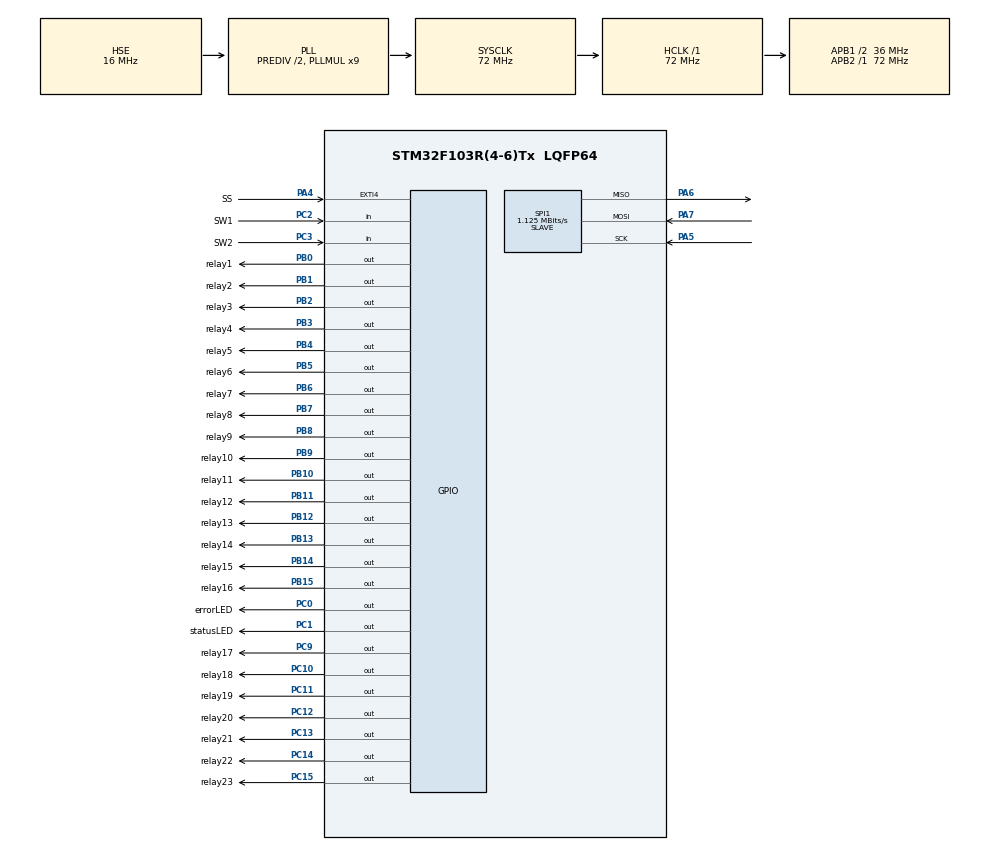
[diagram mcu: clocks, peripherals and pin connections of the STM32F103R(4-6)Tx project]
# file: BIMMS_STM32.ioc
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Mcu.Family=STM32F1
Mcu.Name=STM32F103R(4-6)Tx
Mcu.Package=LQFP64
NVIC.EXTI4_IRQn=true\:10\:0\:true\:false\:true\:true\:true
NVIC.PriorityGroup=NVIC_PRIORITYGROUP_4
NVIC.TIM2_IRQn=true\:0\:0\:false\:false\:true\:true\:true
PA13.Mode=Serial_Wire
PA13.Signal=SYS_JTMS-SWDIO
PA14.Mode=Serial_Wire
PA14.Signal=SYS_JTCK-SWCLK
PA4.GPIO_Label=SS
PA4.GPIO_ModeDefaultEXTI=GPIO_MODE_IT_FALLING
PA4.GPIO_PuPd=GPIO_PULLUP
PA4.Signal=GPXTI4
PA5.Mode=Full_Duplex_Slave
PA5.Signal=SPI1_SCK
PA6.Mode=Full_Duplex_Slave
PA6.Signal=SPI1_MISO
PA7.Mode=Full_Duplex_Slave
PA7.Signal=SPI1_MOSI
PB0.GPIO_Label=relay1
PB0.Signal=GPIO_Output
PB1.GPIO_Label=relay2
PB1.Signal=GPIO_Output
PB10.GPIO_Label=relay11
PB10.Signal=GPIO_Output
PB11.GPIO_Label=relay12
PB11.Signal=GPIO_Output
PB12.GPIO_Label=relay13
PB12.Signal=GPIO_Output
PB13.GPIO_Label=relay14
PB13.Signal=GPIO_Output
PB14.GPIO_Label=relay15
PB14.Signal=GPIO_Output
PB15.GPIO_Label=relay16
PB15.Signal=GPIO_Output
PB2.GPIO_Label=relay3
PB2.Signal=GPIO_Output
PB3.GPIO_Label=relay4
PB3.Signal=GPIO_Output
PB4.GPIO_Label=relay5
PB4.Signal=GPIO_Output
PB5.GPIO_Label=relay6
PB5.Signal=GPIO_Output
PB6.GPIO_Label=relay7
PB6.Signal=GPIO_Output
PB7.GPIO_Label=relay8
PB7.Signal=GPIO_Output
PB8.GPIO_Label=relay9
PB8.Signal=GPIO_Output
PB9.GPIO_Label=relay10
PB9.Signal=GPIO_Output
PC0.GPIO_Label=errorLED
PC0.Signal=GPIO_Output
PC1.GPIO_Label=statusLED
PC1.Signal=GPIO_Output
PC10.GPIO_Label=relay18
PC10.Signal=GPIO_Output
PC11.GPIO_Label=relay19
PC11.Signal=GPIO_Output
PC12.GPIO_Label=relay20
PC12.Signal=GPIO_Output
PC13-TAMPER-RTC.GPIO_Label=relay21
PC13-TAMPER-RTC.Signal=GPIO_Output
PC14-OSC32_IN.GPIO_Label=relay22
PC14-OSC32_IN.Signal=GPIO_Output
PC15-OSC32_OUT.GPIO_Label=relay23
PC15-OSC32_OUT.Signal=GPIO_Output
PC2.GPIO_Label=SW1
PC2.Signal=GPIO_Input
PC3.GPIO_Label=SW2
PC3.Signal=GPIO_Input
PC9.GPIO_Label=relay17
PC9.Signal=GPIO_Output
PD0-OSC_IN.Mode=HSE-External-Oscillator
PD0-OSC_IN.Signal=RCC_OSC_IN
PD1-OSC_OUT.Mode=HSE-External-Oscillator
PD1-OSC_OUT.Signal=RCC_OSC_OUT
ProjectManager.HeapSize=0x200
ProjectManager.StackSize=0x400
ProjectManager.TargetToolchain=STM32CubeIDE
RCC.AHBFreq_Value=72000000
RCC.APB1CLKDivider=RCC_HCLK_DIV2
RCC.APB1Freq_Value=36000000
RCC.APB1TimFreq_Value=72000000
RCC.APB2Freq_Value=72000000
RCC.APB2TimFreq_Value=72000000
RCC.HCLKFreq_Value=72000000
RCC.HSEDivPLL=RCC_HSE_PREDIV_DIV2
RCC.HSE_VALUE=16000000
RCC.PLLMUL=RCC_PLL_MUL9
RCC.PLLSourceVirtual=RCC_PLLSOURCE_HSE
RCC.SYSCLKFreq_VALUE=72000000
RCC.SYSCLKSource=RCC_SYSCLKSOURCE_PLLCLK
RCC.USBFreq_Value=72000000
SPI1.BaudRatePrescaler=SPI_BAUDRATEPRESCALER_64
SPI1.CLKPhase=SPI_PHASE_2EDGE
SPI1.CLKPolarity=SPI_POLARITY_HIGH
SPI1.CalculateBaudRate=1.125 MBits/s
SPI1.Direction=SPI_DIRECTION_2LINES
SPI1.Mode=SPI_MODE_SLAVE
SPI1.VirtualType=VM_SLAVE
TIM2.AutoReloadPreload=TIM_AUTORELOAD_PRELOAD_ENABLE
TIM2.Period=7200
TIM2.Prescaler=100
VP_TIM2_VS_ClockSourceINT.Mode=Internal
board=custom

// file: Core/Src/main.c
/* USER CODE BEGIN Header */
/**
  ******************************************************************************
  * @file           : main.c
  * @brief          : Main program body
  ******************************************************************************
  * @attention
  *
  * <h2><center>&copy; Copyright (c) 2021 STMicroelectronics.
  * All rights reserved.</center></h2>
  *
  * This software component is licensed by ST under BSD 3-Clause license,
  * the "License"; You may not use this file except in compliance with the
  * License. You may obtain a copy of the License at:
  *                        opensource.org/licenses/BSD-3-Clause
  *
  ******************************************************************************
  */
/* USER CODE END Header */
#include "main.h"

SPI_HandleTypeDef hspi1;

TIM_HandleTypeDef htim2;

/* USER CODE BEGIN PV */
long int data_from_AD2;
long int data_to_AD2;
uint8_t rxBuff[4];
uint8_t txBuff[4];
short unsigned int state,new_32bitsSPI;
long int relay_state ;

int cnt_fast;
int cnt_slow;
uint8_t tick_slow;
uint8_t tick_fast;
int div_cnt_fast;
int div_cnt_slow;

/* USER CODE END PV */

void SystemClock_Config(void);
static void MX_GPIO_Init(void);
static void MX_SPI1_Init(void);
static void MX_TIM2_Init(void);
/* USER CODE BEGIN PFP */

void decode_data(long int data_from_AD2);
void update_state(long int data);
void send_register(long int add);

void updateRelay(long int RelayValue);

void toggleStatusLED();
void toggleErrorLED();

void InitOffState();
void InitIdleState();
void InitLockedState();
void InitErrorState();

void TX32bitsSPI();
void Data2buff(long int data);

/* USER CODE END PFP */

int main(void)
{

  /* MCU Configuration--------------------------------------------------------*/

  /* Reset of all peripherals, Initializes the Flash interface and the Systick. */
  HAL_Init();

  /* Configure the system clock */
  SystemClock_Config();

  /* Initialize all configured peripherals */
  MX_GPIO_Init();
  MX_SPI1_Init();
  MX_TIM2_Init();
  /* USER CODE BEGIN 2 */

  //Init Global Variables
  for (short unsigned int i = 0; i<4; i++)
      {
         rxBuff[i]=0;
         txBuff[i]=0;
      }

  data_from_AD2 = 0;
  new_32bitsSPI = 0;

   cnt_fast = 0;
   cnt_slow = 0;
   tick_slow = 0;
   tick_fast = 0;
   div_cnt_fast = 10;
   div_cnt_slow = 80;

   HAL_GPIO_WritePin(statusLED_GPIO_Port, statusLED_Pin,0);
   HAL_GPIO_WritePin(errorLED_GPIO_Port, errorLED_Pin,0);

  updateRelay(Relay_Default);

  //Init state
  state = off_state ;
  InitOffState();

  HAL_TIM_Base_Start_IT(&htim2);

  /* USER CODE END 2 */

  /* Infinite loop */
  /* USER CODE BEGIN WHILE */
  while (1)
  {

      if (new_32bitsSPI)
      {
          decode_data(data_from_AD2);
          new_32bitsSPI = 0;
      }
      switch (state)
      {
          case off_state:
        	  if (tick_slow)
        	  {
        		  tick_slow = 0;
        		  HAL_GPIO_TogglePin(statusLED_GPIO_Port, statusLED_Pin);
        	  }
        	  // Do Something
              break;
          case idle_state:
              // Do Something
              break;
          case locked_state:
        	  if (tick_fast)
        	  {
        		  tick_fast = 0;
        		  HAL_GPIO_TogglePin(statusLED_GPIO_Port, statusLED_Pin);
        	  }
              // Do Something
              break;
          case error_state:
        	  if (tick_fast)
        	  {
        		  tick_fast = 0;
        		  HAL_GPIO_TogglePin(errorLED_GPIO_Port, errorLED_Pin);
        	  }
              // Do Something
              break;
      }

    /* USER CODE END WHILE */

  }
}

void SystemClock_Config(void)
{
  RCC_OscInitTypeDef RCC_OscInitStruct = {0};
  RCC_ClkInitTypeDef RCC_ClkInitStruct = {0};

  /** Initializes the RCC Oscillators according to the specified parameters
  * in the RCC_OscInitTypeDef structure.
  */
  RCC_OscInitStruct.OscillatorType = RCC_OSCILLATORTYPE_HSE;
  RCC_OscInitStruct.HSEState = RCC_HSE_ON;
  RCC_OscInitStruct.HSEPredivValue = RCC_HSE_PREDIV_DIV2;
  RCC_OscInitStruct.HSIState = RCC_HSI_ON;
  RCC_OscInitStruct.PLL.PLLState = RCC_PLL_ON;
  RCC_OscInitStruct.PLL.PLLSource = RCC_PLLSOURCE_HSE;
  RCC_OscInitStruct.PLL.PLLMUL = RCC_PLL_MUL9;
  if (HAL_RCC_OscConfig(&RCC_OscInitStruct) != HAL_OK)
  {
    Error_Handler();
  }
  /** Initializes the CPU, AHB and APB buses clocks
  */
  RCC_ClkInitStruct.ClockType = RCC_CLOCKTYPE_HCLK|RCC_CLOCKTYPE_SYSCLK
                              |RCC_CLOCKTYPE_PCLK1|RCC_CLOCKTYPE_PCLK2;
  RCC_ClkInitStruct.SYSCLKSource = RCC_SYSCLKSOURCE_PLLCLK;
  RCC_ClkInitStruct.AHBCLKDivider = RCC_SYSCLK_DIV1;
  RCC_ClkInitStruct.APB1CLKDivider = RCC_HCLK_DIV2;
  RCC_ClkInitStruct.APB2CLKDivider = RCC_HCLK_DIV1;

  if (HAL_RCC_ClockConfig(&RCC_ClkInitStruct, FLASH_LATENCY_2) != HAL_OK)
  {
    Error_Handler();
  }
}

static void MX_SPI1_Init(void)
{

  /* SPI1 parameter configuration*/
  hspi1.Instance = SPI1;
  hspi1.Init.Mode = SPI_MODE_SLAVE;
  hspi1.Init.Direction = SPI_DIRECTION_2LINES;
  hspi1.Init.DataSize = SPI_DATASIZE_8BIT;
  hspi1.Init.CLKPolarity = SPI_POLARITY_HIGH;
  hspi1.Init.CLKPhase = SPI_PHASE_2EDGE;
  hspi1.Init.NSS = SPI_NSS_SOFT;
  hspi1.Init.BaudRatePrescaler = SPI_BAUDRATEPRESCALER_64;
  hspi1.Init.FirstBit = SPI_FIRSTBIT_MSB;
  hspi1.Init.TIMode = SPI_TIMODE_DISABLE;
  hspi1.Init.CRCCalculation = SPI_CRCCALCULATION_DISABLE;
  hspi1.Init.CRCPolynomial = 10;
  if (HAL_SPI_Init(&hspi1) != HAL_OK)
  {
    Error_Handler();
  }

}

static void MX_TIM2_Init(void)
{

  TIM_ClockConfigTypeDef sClockSourceConfig = {0};
  TIM_MasterConfigTypeDef sMasterConfig = {0};

  htim2.Instance = TIM2;
  htim2.Init.Prescaler = 100;
  htim2.Init.CounterMode = TIM_COUNTERMODE_UP;
  htim2.Init.Period = 7200;
  htim2.Init.ClockDivision = TIM_CLOCKDIVISION_DIV1;
  htim2.Init.AutoReloadPreload = TIM_AUTORELOAD_PRELOAD_ENABLE;
  if (HAL_TIM_Base_Init(&htim2) != HAL_OK)
  {
    Error_Handler();
  }
  sClockSourceConfig.ClockSource = TIM_CLOCKSOURCE_INTERNAL;
  if (HAL_TIM_ConfigClockSource(&htim2, &sClockSourceConfig) != HAL_OK)
  {
    Error_Handler();
  }
  sMasterConfig.MasterOutputTrigger = TIM_TRGO_RESET;
  sMasterConfig.MasterSlaveMode = TIM_MASTERSLAVEMODE_DISABLE;
  if (HAL_TIMEx_MasterConfigSynchronization(&htim2, &sMasterConfig) != HAL_OK)
  {
    Error_Handler();
  }

}

static void MX_GPIO_Init(void)
{
  GPIO_InitTypeDef GPIO_InitStruct = {0};

  /* GPIO Ports Clock Enable */
  __HAL_RCC_GPIOC_CLK_ENABLE();
  __HAL_RCC_GPIOD_CLK_ENABLE();
  __HAL_RCC_GPIOA_CLK_ENABLE();
  __HAL_RCC_GPIOB_CLK_ENABLE();

  /*Configure GPIO pin Output Level */
  HAL_GPIO_WritePin(GPIOC, relay21_Pin|relay22_Pin|relay23_Pin|errorLED_Pin
                          |statusLED_Pin|relay17_Pin|relay18_Pin|relay19_Pin
                          |relay20_Pin, GPIO_PIN_RESET);

  /*Configure GPIO pin Output Level */
  HAL_GPIO_WritePin(GPIOB, relay1_Pin|relay2_Pin|relay3_Pin|relay11_Pin
                          |relay12_Pin|relay13_Pin|relay14_Pin|relay15_Pin
                          |relay16_Pin|relay4_Pin|relay5_Pin|relay6_Pin
                          |relay7_Pin|relay8_Pin|relay9_Pin|relay10_Pin, GPIO_PIN_RESET);

  /*Configure GPIO pins : relay21_Pin relay22_Pin relay23_Pin errorLED_Pin
                           statusLED_Pin relay17_Pin relay18_Pin relay19_Pin
                           relay20_Pin */
  GPIO_InitStruct.Pin = relay21_Pin|relay22_Pin|relay23_Pin|errorLED_Pin
                          |statusLED_Pin|relay17_Pin|relay18_Pin|relay19_Pin
                          |relay20_Pin;
  GPIO_InitStruct.Mode = GPIO_MODE_OUTPUT_PP;
  GPIO_InitStruct.Pull = GPIO_NOPULL;
  GPIO_InitStruct.Speed = GPIO_SPEED_FREQ_LOW;
  HAL_GPIO_Init(GPIOC, &GPIO_InitStruct);

  /*Configure GPIO pins : SW1_Pin SW2_Pin */
  GPIO_InitStruct.Pin = SW1_Pin|SW2_Pin;
  GPIO_InitStruct.Mode = GPIO_MODE_INPUT;
  GPIO_InitStruct.Pull = GPIO_NOPULL;
  HAL_GPIO_Init(GPIOC, &GPIO_InitStruct);

  /*Configure GPIO pin : SS_Pin */
  GPIO_InitStruct.Pin = SS_Pin;
  GPIO_InitStruct.Mode = GPIO_MODE_IT_FALLING;
  GPIO_InitStruct.Pull = GPIO_PULLUP;
  HAL_GPIO_Init(SS_GPIO_Port, &GPIO_InitStruct);

  /*Configure GPIO pins : relay1_Pin relay2_Pin relay3_Pin relay11_Pin
                           relay12_Pin relay13_Pin relay14_Pin relay15_Pin
                           relay16_Pin relay4_Pin relay5_Pin relay6_Pin
                           relay7_Pin relay8_Pin relay9_Pin relay10_Pin */
  GPIO_InitStruct.Pin = relay1_Pin|relay2_Pin|relay3_Pin|relay11_Pin
                          |relay12_Pin|relay13_Pin|relay14_Pin|relay15_Pin
                          |relay16_Pin|relay4_Pin|relay5_Pin|relay6_Pin
                          |relay7_Pin|relay8_Pin|relay9_Pin|relay10_Pin;
  GPIO_InitStruct.Mode = GPIO_MODE_OUTPUT_PP;
  GPIO_InitStruct.Pull = GPIO_NOPULL;
  GPIO_InitStruct.Speed = GPIO_SPEED_FREQ_LOW;
  HAL_GPIO_Init(GPIOB, &GPIO_InitStruct);

  /* EXTI interrupt init*/
  HAL_NVIC_SetPriority(EXTI4_IRQn, 10, 0);
  HAL_NVIC_EnableIRQ(EXTI4_IRQn);

}

/* USER CODE BEGIN 4 */
void decode_data(long int data)
{
    short int command = (data >> shift_com) & 0xFF ;
    switch (command)
    {
        case set_state:
            update_state(data & Mask_data);
            break;

        case read_reg:
            send_register(data & Mask_data);
            break;

        case set_relays:
            if (state == idle_state)
            {
                updateRelay (data & Mask_data);
            }
    }
}

void update_state(long int data)
{
    switch (data)
    {
        case off_state:
            state = off_state;
            InitOffState();
            break;
        case idle_state:
            state = idle_state;
            InitIdleState();
            break;
        case locked_state:
            state = locked_state;
            InitLockedState();
            break;
        default:
            state = error_state;
            InitErrorState();
            break;

    }
}

void updateRelay(long int RelayValue)
{
    relay_state=RelayValue;
    HAL_GPIO_WritePin(relay1_GPIO_Port, relay1_Pin,(RelayValue >> 0) & 1UL);
    HAL_GPIO_WritePin(relay2_GPIO_Port, relay2_Pin,(RelayValue >> 1) & 1UL);
    HAL_GPIO_WritePin(relay3_GPIO_Port, relay3_Pin,(RelayValue >> 2) & 1UL);
    HAL_GPIO_WritePin(relay4_GPIO_Port, relay4_Pin,(RelayValue >> 3) & 1UL);
    HAL_GPIO_WritePin(relay5_GPIO_Port, relay5_Pin,(RelayValue >> 4) & 1UL);
    HAL_GPIO_WritePin(relay6_GPIO_Port, relay6_Pin,(RelayValue >> 5) & 1UL);
    HAL_GPIO_WritePin(relay7_GPIO_Port, relay7_Pin,(RelayValue >> 6) & 1UL);
    HAL_GPIO_WritePin(relay8_GPIO_Port, relay8_Pin,(RelayValue >> 7) & 1UL);
    HAL_GPIO_WritePin(relay9_GPIO_Port, relay9_Pin,(RelayValue >> 8) & 1UL);
    HAL_GPIO_WritePin(relay10_GPIO_Port, relay10_Pin,(RelayValue >> 9) & 1UL);
    HAL_GPIO_WritePin(relay11_GPIO_Port, relay11_Pin,(RelayValue >> 10) & 1UL);
    HAL_GPIO_WritePin(relay12_GPIO_Port, relay12_Pin,(RelayValue >> 11) & 1UL);
    HAL_GPIO_WritePin(relay13_GPIO_Port, relay13_Pin,(RelayValue >> 12) & 1UL);
    HAL_GPIO_WritePin(relay14_GPIO_Port, relay14_Pin,(RelayValue >> 13) & 1UL);
    HAL_GPIO_WritePin(relay15_GPIO_Port, relay15_Pin,(RelayValue >> 14) & 1UL);
    HAL_GPIO_WritePin(relay16_GPIO_Port, relay16_Pin,(RelayValue >> 15) & 1UL);
    HAL_GPIO_WritePin(relay17_GPIO_Port, relay17_Pin,(RelayValue >> 16) & 1UL);
    HAL_GPIO_WritePin(relay18_GPIO_Port, relay18_Pin,(RelayValue >> 17) & 1UL);
    HAL_GPIO_WritePin(relay19_GPIO_Port, relay19_Pin,(RelayValue >> 18) & 1UL);
    HAL_GPIO_WritePin(relay20_GPIO_Port, relay20_Pin,(RelayValue >> 19) & 1UL);
    HAL_GPIO_WritePin(relay21_GPIO_Port, relay21_Pin,(RelayValue >> 20) & 1UL);
    HAL_GPIO_WritePin(relay22_GPIO_Port, relay22_Pin,(RelayValue >> 21) & 1UL);
    HAL_GPIO_WritePin(relay23_GPIO_Port, relay23_Pin,(RelayValue >> 22) & 1UL);

}

void send_register(long int add)
{
   switch (add)
    {
        case ID_add:
            Data2buff((long int)DEVICE_ID);
            break;
        case state_add:
           Data2buff((long int)state);
            break;

        default :
            Data2buff((long int)0x00);
            break;
    }
}

void HAL_TIM_PeriodElapsedCallback(TIM_HandleTypeDef* htim)
{

	if (htim->Instance == TIM2)
	{

		 if (cnt_slow >= div_cnt_slow)
		  {
			  cnt_slow = 0 ;
			  tick_slow = 1;

		  }
		  else
		  {
			  cnt_slow++;
		  }

		 if (cnt_fast >= div_cnt_fast)
		  {
			 cnt_fast = 0 ;
			 tick_fast = 1;

		  }
		  else
		  {
			  cnt_fast++;
		  }
	}
}

void HAL_GPIO_EXTI_Callback(uint16_t GPIO_Pin)
{
    if(GPIO_Pin == SS_Pin)
    {
    	HAL_SPI_TransmitReceive(&hspi1, txBuff,rxBuff, 4, 10);
        data_from_AD2 = (rxBuff[0] << 24) | (rxBuff[1] << 16) | (rxBuff[2] << 8) | (rxBuff[3]);

        HAL_SPI_DeInit(&hspi1); // reset the state machine back to original state
        HAL_SPI_Init(&hspi1) ;	//avoid false detection (dirty hack but ...)

        if (data_from_AD2)
            new_32bitsSPI = 1;
    }
}

void Data2buff(long int data)
{
    txBuff[0]=(data >> 24) & 0xFF;
    txBuff[1]=(data >> 16) & 0xFF;
    txBuff[2]=(data >> 8) & 0xFF;
    txBuff[3]=data & 0xFF;
}

void InitOffState()
{
    updateRelay(Relay_Default);
    HAL_GPIO_WritePin(errorLED_GPIO_Port, errorLED_Pin,0);
}

void InitIdleState()
{

    updateRelay(Relay_Default);
	HAL_GPIO_WritePin(statusLED_GPIO_Port, statusLED_Pin,1);
}

void InitLockedState()
{
	//Do something
}

void InitErrorState()
{
	HAL_GPIO_WritePin(statusLED_GPIO_Port, statusLED_Pin,0);
    updateRelay(Relay_Default);
}

/* USER CODE END 4 */

void Error_Handler(void)
{
  __disable_irq();
  while (1)
  {
  }
}

/************************ (C) COPYRIGHT STMicroelectronics *****END OF FILE****/
